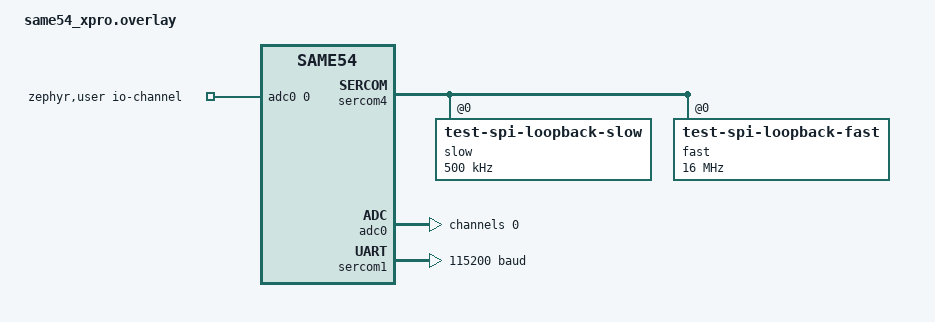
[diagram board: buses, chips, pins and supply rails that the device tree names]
/*
 * Copyright (c) 2025 Gerson Fernando Budke <nandojve@gmail.com>
 *
 * SPDX-License-Identifier: Apache-2.0
 */

tst_dma0: &dmac {
	status = "okay";
};

&dmac {
	status = "okay";
};

&sercom4 {
	dipo = <3>;
	dopo = <2>;
	cs-gpios = <&portb 28 GPIO_ACTIVE_LOW>;
	dmas = <&dmac 0 12>, <&dmac 1 13>;
	dma-names = "rx", "tx";
	slow@0 {
		compatible = "test-spi-loopback-slow";
		reg = <0>;
		spi-max-frequency = <500000>;
	};
	fast@0 {
		compatible = "test-spi-loopback-fast";
		reg = <0>;
		spi-max-frequency = <16000000>;
	};
};

#define ADC_INPUTCTRL_MUXPOS_SCALEDIOVCC_Val 0x1AU

/ {
	zephyr,user {
		io-channels = <&adc0 0>;
	};
};

&adc0 {
	#address-cells = <1>;
	#size-cells = <0>;
	channel@0 {
		reg = <0>;
		zephyr,gain = "ADC_GAIN_1";
		zephyr,reference = "ADC_REF_INTERNAL";
		zephyr,acquisition-time = <ADC_ACQ_TIME_DEFAULT>;
		zephyr,resolution = <12>;
		zephyr,input-positive = <ADC_INPUTCTRL_MUXPOS_SCALEDIOVCC_Val>;
	};
};

dut: &sercom1 {
	status = "okay";
	compatible = "atmel,sam0-uart";
	current-speed = <115200>;
	#address-cells = <1>;
	#size-cells = <0>;
	rxpo = <0>;
	txpo = <0>;
	dmas = <&dmac 0 6>, <&dmac 1 7>;
	dma-names = "rx", "tx";
};

&sercom2 {
	dmas = <&dmac 30 8>, <&dmac 31 9>;
	dma-names = "rx", "tx";
};
